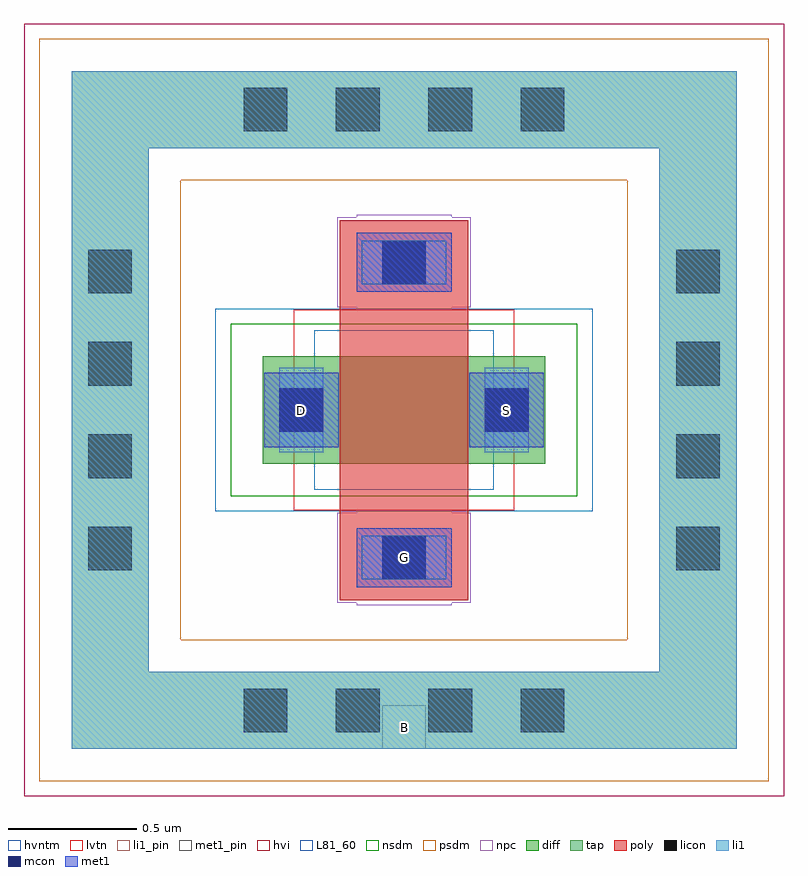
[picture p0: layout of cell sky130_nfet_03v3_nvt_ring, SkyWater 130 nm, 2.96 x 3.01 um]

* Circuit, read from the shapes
.subckt sky130_nfet_03v3_nvt_ring B D G S
XM1 S G D B sky130_fd_pr__nfet_05v0_nvt w=0.42 l=0.5
.ends

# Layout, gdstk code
import gdstk
lib = gdstk.Library(unit=1e-6, precision=1e-09)
def R(c, l, rs):  # rectangles x0, y0, x1, y1
    for r in rs: c.add(gdstk.rectangle(r[:2], r[2:], *l))
def A(c, l, x, y, w, h, nx, ny, dx, dy):  # array of equal rectangles
    R(c, l, [(x+i*dx, y+j*dy, x+i*dx+w, y+j*dy+h) for i in range(nx) for j in range(ny)])
def P(c, l, *ps):  # polygons
    for p in ps: c.add(gdstk.Polygon(p, *l))
diff = (65, 20)
tap = (65, 44)
poly = (66, 20)
licon = (66, 44)
li1_pin = (67, 16)
li1 = (67, 20)
mcon = (67, 44)
met1_pin = (68, 16)
met1 = (68, 20)
hvi = (75, 20)
L81_60 = (81, 60)
nsdm = (93, 44)
psdm = (94, 20)
npc = (95, 20)
hvntm = (125, 20)
lvtn = (125, 44)

nfet = lib.new_cell('nfet')
R(nfet, diff, [(0,0,1.1,0.42)])
P(nfet, tap, [(-0.745,-1.11),(-0.745,1.23),(-0.445,1.23),(-0.445,-0.81),(1.545,-0.81),(1.545,1.23),(-0.745,1.23),(-0.745,1.53),(1.845,1.53),(1.845,-1.11)])
R(nfet, poly, [(0.3,-0.53,0.8,-0.2), (0.3,-0.2,0.8,0.62), (0.3,0.62,0.8,0.95)])
A(nfet, licon, -0.075, -1.045, 0.17, 0.17, 4, 2, 0.36, 2.34)
A(nfet, licon, -0.68, -0.415, 0.17, 0.17, 1, 4, 0, 0.36)
A(nfet, licon, 1.61, -0.415, 0.17, 0.17, 1, 4, 0, 0.36)
R(nfet, licon, [(0.465,-0.45,0.635,-0.28), (0.065,0.125,0.235,0.295), (0.865,0.125,1.035,0.295), (0.465,0.7,0.635,0.87)])
R(nfet, li1, [(0.385,-0.45,0.715,-0.28), (0.065,0.045,0.235,0.375), (0.865,0.045,1.035,0.375), (0.385,0.7,0.715,0.87)])
P(nfet, li1, [(-0.745,-1.11),(-0.745,1.23),(-0.445,1.23),(-0.445,-0.81),(1.545,-0.81),(1.545,1.23),(-0.745,1.23),(-0.745,1.53),(1.845,1.53),(1.845,-1.11)])
R(nfet, mcon, [(0.465,-0.45,0.635,-0.28), (0.065,0.125,0.235,0.295), (0.865,0.125,1.035,0.295), (0.465,0.7,0.635,0.87)])
R(nfet, met1, [(0.365,-0.48,0.735,-0.25), (0.005,0.065,0.295,0.355), (0.805,0.065,1.095,0.355), (0.365,0.67,0.735,0.9)])
R(nfet, hvi, [(-0.93,-1.295,2.03,1.715)])
R(nfet, L81_60, [(0.2,-0.1,0.9,0.52)])
R(nfet, nsdm, [(-0.125,-0.125,1.225,0.545)])
P(nfet, psdm, [(-0.87,-1.235),(-0.87,1.105),(-0.32,1.105),(-0.32,-0.685),(1.42,-0.685),(1.42,1.105),(-0.87,1.105),(-0.87,1.655),(1.97,1.655),(1.97,-1.235)])
R(nfet, npc, [(0.29,-0.54,0.81,-0.19), (0.29,0.61,0.81,0.96)])
R(nfet, hvntm, [(-0.185,-0.185,1.285,0.605)])
R(nfet, lvtn, [(0.12,-0.18,0.98,0.6)])

sky130_nfet_03v3_nvt_rin = lib.new_cell('sky130_nfet_03v3_nvt_ring')
R(sky130_nfet_03v3_nvt_rin, li1_pin, [(0.465,-1.11,0.635,-0.94)])
R(sky130_nfet_03v3_nvt_rin, met1_pin, [(0.465,-0.45,0.635,-0.28), (0.065,0.125,0.235,0.295), (0.865,0.125,1.035,0.295)])
R(sky130_nfet_03v3_nvt_rin, npc, [(0.365,-0.55,0.735,-0.18), (0.365,0.6,0.735,0.97)])
sky130_nfet_03v3_nvt_rin.add(gdstk.Reference(nfet, (0,0)))
sky130_nfet_03v3_nvt_rin.add(gdstk.Label('D', (0.15,0.21), layer=68, texttype=5))
sky130_nfet_03v3_nvt_rin.add(gdstk.Label('S', (0.95,0.21), layer=68, texttype=5))
sky130_nfet_03v3_nvt_rin.add(gdstk.Label('G', (0.55,-0.365), layer=68, texttype=5))
sky130_nfet_03v3_nvt_rin.add(gdstk.Label('B', (0.55,-1.025), layer=67, texttype=5))

lib.write_gds('sky130_nfet_03v3_nvt_ring.gds')
